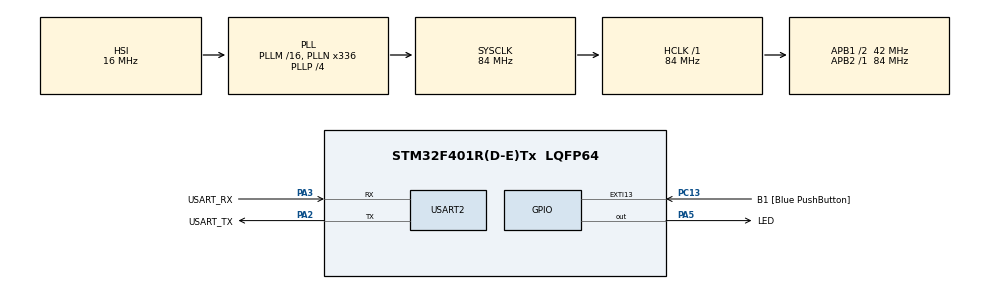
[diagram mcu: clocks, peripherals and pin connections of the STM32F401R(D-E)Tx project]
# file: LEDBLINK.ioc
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Mcu.Family=STM32F4
Mcu.Name=STM32F401R(D-E)Tx
Mcu.Package=LQFP64
NVIC.PriorityGroup=NVIC_PRIORITYGROUP_0
PA13.GPIO_Label=TMS
PA13.Mode=Serial_Wire
PA13.Signal=SYS_JTMS-SWDIO
PA14.GPIO_Label=TCK
PA14.Mode=Serial_Wire
PA14.Signal=SYS_JTCK-SWCLK
PA2.GPIO_Label=USART_TX
PA2.GPIO_Mode=GPIO_MODE_AF_PP
PA2.GPIO_PuPd=GPIO_NOPULL
PA2.GPIO_Speed=GPIO_SPEED_FREQ_LOW
PA2.Mode=Asynchronous
PA2.Signal=USART2_TX
PA3.GPIO_Label=USART_RX
PA3.GPIO_Mode=GPIO_MODE_AF_PP
PA3.GPIO_PuPd=GPIO_NOPULL
PA3.GPIO_Speed=GPIO_SPEED_FREQ_LOW
PA3.Mode=Asynchronous
PA3.Signal=USART2_RX
PA5.GPIO_Label=LED
PA5.Signal=GPIO_Output
PB3.GPIO_Label=SWO
PB3.Signal=SYS_JTDO-SWO
PC13-ANTI_TAMP.GPIO_Label=B1 [Blue PushButton]
PC13-ANTI_TAMP.GPIO_ModeDefaultEXTI=GPIO_MODE_IT_FALLING
PC13-ANTI_TAMP.GPIO_PuPd=GPIO_NOPULL
PC13-ANTI_TAMP.Signal=GPXTI13
PC14-OSC32_IN.Mode=LSE-External-Oscillator
PC14-OSC32_IN.Signal=RCC_OSC32_IN
PC15-OSC32_OUT.Mode=LSE-External-Oscillator
PC15-OSC32_OUT.Signal=RCC_OSC32_OUT
PH0\ -\ OSC_IN.Mode=HSE-External-Clock-Source
PH0\ -\ OSC_IN.Signal=RCC_OSC_IN
PH1\ -\ OSC_OUT.Mode=HSE-External-Clock-Source
PH1\ -\ OSC_OUT.Signal=RCC_OSC_OUT
ProjectManager.HeapSize=0x200
ProjectManager.StackSize=0x400
ProjectManager.TargetToolchain=MDK-ARM V5.32
RCC.48MHZClocksFreq_Value=48000000
RCC.AHBFreq_Value=84000000
RCC.APB1CLKDivider=RCC_HCLK_DIV2
RCC.APB1Freq_Value=42000000
RCC.APB1TimFreq_Value=84000000
RCC.APB2Freq_Value=84000000
RCC.APB2TimFreq_Value=84000000
RCC.CortexFreq_Value=84000000
RCC.HCLKFreq_Value=84000000
RCC.HSE_VALUE=8000000
RCC.HSI_VALUE=16000000
RCC.PLLN=336
RCC.PLLP=RCC_PLLP_DIV4
RCC.PLLQ=7
RCC.SYSCLKFreq_VALUE=84000000
RCC.SYSCLKSource=RCC_SYSCLKSOURCE_PLLCLK
RCC.VCOOutputFreq_Value=336000000
USART2.VirtualMode=VM_ASYNC
board=NUCLEO-F401RE

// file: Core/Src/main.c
/* USER CODE BEGIN Header */
/**
  ******************************************************************************
  * @file           : main.c
  * @brief          : Main program body
  ******************************************************************************
  * @attention
  *
  * Copyright (c) 2024 STMicroelectronics.
  * All rights reserved.
  *
  * This software is licensed under terms that can be found in the LICENSE file
  * in the root directory of this software component.
  * If no LICENSE file comes with this software, it is provided AS-IS.
  *
  ******************************************************************************
  */
/* USER CODE END Header */
#include "main.h"

/* USER CODE BEGIN PM */
#define HIGH GPIO_PIN_SET
#define LOW GPIO_PIN_RESET
/* USER CODE END PM */

UART_HandleTypeDef huart2;

void SystemClock_Config(void);
static void MX_GPIO_Init(void);
static void MX_USART2_UART_Init(void);

int main(void)
{

  /* MCU Configuration--------------------------------------------------------*/

  /* Reset of all peripherals, Initializes the Flash interface and the Systick. */
  HAL_Init();

  /* Configure the system clock */
  SystemClock_Config();

  /* Initialize all configured peripherals */
  MX_GPIO_Init();
  MX_USART2_UART_Init();

  /* Infinite loop */
  while (1)
  {

    /* USER CODE BEGIN 3 */
		for(int i = 0;i < 5; i++)
		{
			HAL_GPIO_WritePin(GPIOA,GPIO_PIN_5,GPIO_PIN_SET);
			HAL_Delay(100);
			HAL_GPIO_WritePin(GPIOA, GPIO_PIN_5, GPIO_PIN_RESET);
			HAL_Delay(900);
		}

		for(int i = 0;i < 5; i++)
		{
			HAL_GPIO_WritePin(LED_GPIO_Port,LED_Pin,GPIO_PIN_SET);
			HAL_Delay(900);
			HAL_GPIO_WritePin(LED_GPIO_Port,LED_Pin,GPIO_PIN_RESET);
			HAL_Delay(100);
		}

		for(int i = 0;i < 5; i++)
		{
			HAL_GPIO_WritePin(LED_GPIO_Port,LED_Pin,HIGH);
			HAL_Delay(100);
			HAL_GPIO_WritePin(LED_GPIO_Port,LED_Pin,LOW);
			HAL_Delay(100);
		}
  }
  /* USER CODE END 3 */
}

void SystemClock_Config(void)
{
  RCC_OscInitTypeDef RCC_OscInitStruct = {0};
  RCC_ClkInitTypeDef RCC_ClkInitStruct = {0};

  /** Configure the main internal regulator output voltage
  */
  __HAL_RCC_PWR_CLK_ENABLE();
  __HAL_PWR_VOLTAGESCALING_CONFIG(PWR_REGULATOR_VOLTAGE_SCALE2);

  /** Initializes the RCC Oscillators according to the specified parameters
  * in the RCC_OscInitTypeDef structure.
  */
  RCC_OscInitStruct.OscillatorType = RCC_OSCILLATORTYPE_HSI;
  RCC_OscInitStruct.HSIState = RCC_HSI_ON;
  RCC_OscInitStruct.HSICalibrationValue = RCC_HSICALIBRATION_DEFAULT;
  RCC_OscInitStruct.PLL.PLLState = RCC_PLL_ON;
  RCC_OscInitStruct.PLL.PLLSource = RCC_PLLSOURCE_HSI;
  RCC_OscInitStruct.PLL.PLLM = 16;
  RCC_OscInitStruct.PLL.PLLN = 336;
  RCC_OscInitStruct.PLL.PLLP = RCC_PLLP_DIV4;
  RCC_OscInitStruct.PLL.PLLQ = 7;
  if (HAL_RCC_OscConfig(&RCC_OscInitStruct) != HAL_OK)
  {
    Error_Handler();
  }

  /** Initializes the CPU, AHB and APB buses clocks
  */
  RCC_ClkInitStruct.ClockType = RCC_CLOCKTYPE_HCLK|RCC_CLOCKTYPE_SYSCLK
                              |RCC_CLOCKTYPE_PCLK1|RCC_CLOCKTYPE_PCLK2;
  RCC_ClkInitStruct.SYSCLKSource = RCC_SYSCLKSOURCE_PLLCLK;
  RCC_ClkInitStruct.AHBCLKDivider = RCC_SYSCLK_DIV1;
  RCC_ClkInitStruct.APB1CLKDivider = RCC_HCLK_DIV2;
  RCC_ClkInitStruct.APB2CLKDivider = RCC_HCLK_DIV1;

  if (HAL_RCC_ClockConfig(&RCC_ClkInitStruct, FLASH_LATENCY_2) != HAL_OK)
  {
    Error_Handler();
  }
}

static void MX_USART2_UART_Init(void)
{

  huart2.Instance = USART2;
  huart2.Init.BaudRate = 115200;
  huart2.Init.WordLength = UART_WORDLENGTH_8B;
  huart2.Init.StopBits = UART_STOPBITS_1;
  huart2.Init.Parity = UART_PARITY_NONE;
  huart2.Init.Mode = UART_MODE_TX_RX;
  huart2.Init.HwFlowCtl = UART_HWCONTROL_NONE;
  huart2.Init.OverSampling = UART_OVERSAMPLING_16;
  if (HAL_UART_Init(&huart2) != HAL_OK)
  {
    Error_Handler();
  }

}

static void MX_GPIO_Init(void)
{
  GPIO_InitTypeDef GPIO_InitStruct = {0};

  /* GPIO Ports Clock Enable */
  __HAL_RCC_GPIOC_CLK_ENABLE();
  __HAL_RCC_GPIOH_CLK_ENABLE();
  __HAL_RCC_GPIOA_CLK_ENABLE();
  __HAL_RCC_GPIOB_CLK_ENABLE();

  /*Configure GPIO pin Output Level */
  HAL_GPIO_WritePin(LED_GPIO_Port, LED_Pin, GPIO_PIN_RESET);

  /*Configure GPIO pin : B1_Pin */
  GPIO_InitStruct.Pin = B1_Pin;
  GPIO_InitStruct.Mode = GPIO_MODE_IT_FALLING;
  GPIO_InitStruct.Pull = GPIO_NOPULL;
  HAL_GPIO_Init(B1_GPIO_Port, &GPIO_InitStruct);

  /*Configure GPIO pin : LED_Pin */
  GPIO_InitStruct.Pin = LED_Pin;
  GPIO_InitStruct.Mode = GPIO_MODE_OUTPUT_PP;
  GPIO_InitStruct.Pull = GPIO_NOPULL;
  GPIO_InitStruct.Speed = GPIO_SPEED_FREQ_LOW;
  HAL_GPIO_Init(LED_GPIO_Port, &GPIO_InitStruct);

}

void Error_Handler(void)
{
  __disable_irq();
  while (1)
  {
  }
}
